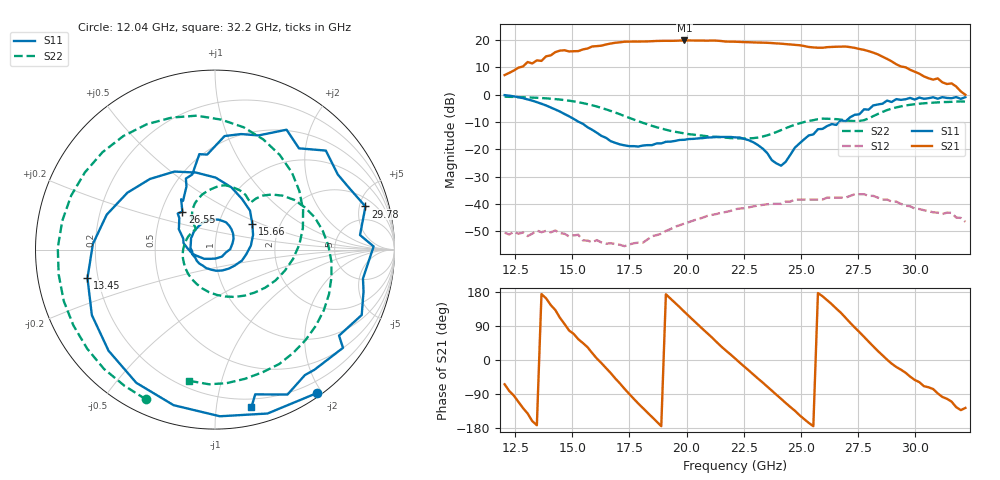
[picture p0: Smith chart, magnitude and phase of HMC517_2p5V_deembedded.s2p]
!Hittite Microwave Corporation
!20 Alpha Road
!Chelmsford, MA 01824
!Tel: 978-250-3343
!Fax: 978-250-3373
!Device: HMC517, 17-26 GHz, GaAs PHEMT MMIC Low Noise Amplifier Die
!Misc: Vdd1 = Vdd2 = Vdd3 = +2.5V, data includes two K connectors, Room
# MHZ S MA R 50
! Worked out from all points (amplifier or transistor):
!   101 points, 12.04 GHz to 32.2 GHz, reference 50 ohm
!   highest |S21| = 19.8 dB at 19.9 GHz (marker M1)
!   |S21| within 3 dB of that: 15.64 GHz to 27.5 GHz (11.87 GHz wide, 55 % of centre)
!   unconditionally stable (mu >= 1): start of sweep to end of sweep
!   at 15.26 GHz: K = 12.74, MAG = 19.6 dB, |S12| = -51.3 dB
!   at 22.12 GHz: K = 6.42, MAG = 19.6 dB, |S12| = -42.0 dB
!   at 32.2 GHz: K = 8.86, MAG = 10.8 dB, |S12| = -46.6 dB
!   S11 on the Smith chart (normalised r, x): 12.04 GHz: 0.05, -1.93; 13.45 GHz: 0.16, -0.11; 15.66 GHz: 1.45, +0.44; 26.55 GHz: 0.64, +0.29; 29.78 GHz: 2.86, +5.73; 32.2 GHz: 0.14, -1.25
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12035  0.98 -54.7  2.282 -64.1  0.002972 63.2  0.919 -114.7
13446.55  0.728 -167.4  4.243 -172.1  0.003247 -8.9  0.876 179.3
14454.8  0.49 117.5  6.394 111.5  0.002907 -55.3  0.813 128.9
15463.05  0.292 48.1  6.737 44.7  0.00214 -91.8  0.7 76.8
15664.7  0.253 34.6  6.992 33.7  0.002126 -100.4  0.67 66.3
16672.95  0.141 -39.5  8.618 -34.1  0.001899 -156.4  0.504 13.7
17479.55  0.114 -99.2  9.345 -88.9  0.00179 150.5  0.378 -27.1
18084.5  0.117 -138.2  9.408 -126.6  0.001942 110.5  0.305 -57.2
18891.1  0.128 -175.9  9.656 -174.5  0.002834 58.0  0.24 -97.8
19899.35  0.149 147.0  9.824 127.4  0.004353 8.8  0.195 -147.1
20907.6  0.164 115.5  9.729 70.6  0.006021 -34.3  0.173 171.7
22117.5  0.165 75.5  9.317 4.3  0.007956 -81.6  0.159 140.8
22924.1  0.134 41.0  9.05 -38.4  0.009014 -114.5  0.16 132.8
23730.7  0.063 -14.3  8.802 -80.9  0.01 -146.7  0.192 129.1
24940.6  0.128 -169.5  8.032 -145.6  0.012 161.7  0.298 108.4
25545.55  0.187 160.9  7.328 -174.6  0.012 132.8  0.341 92.1
26553.8  0.279 130.7  7.54 135.5  0.013 92.8  0.356 64.1
27158.75  0.386 114.3  7.42 98.1  0.014 60.8  0.331 54.2
27965.35  0.531 94.7  6.259 48.5  0.014 15.8  0.367 51.1
28973.6  0.733 50.3  4.064 -9.6  0.011 -35.1  0.554 25.0
29780.2  0.872 16.0  2.854 -43.8  0.009059 -65.0  0.652 -5.9
32200  0.9 -77.0  0.993 -126.5  0.004684 -120.9  0.745 -101.0
